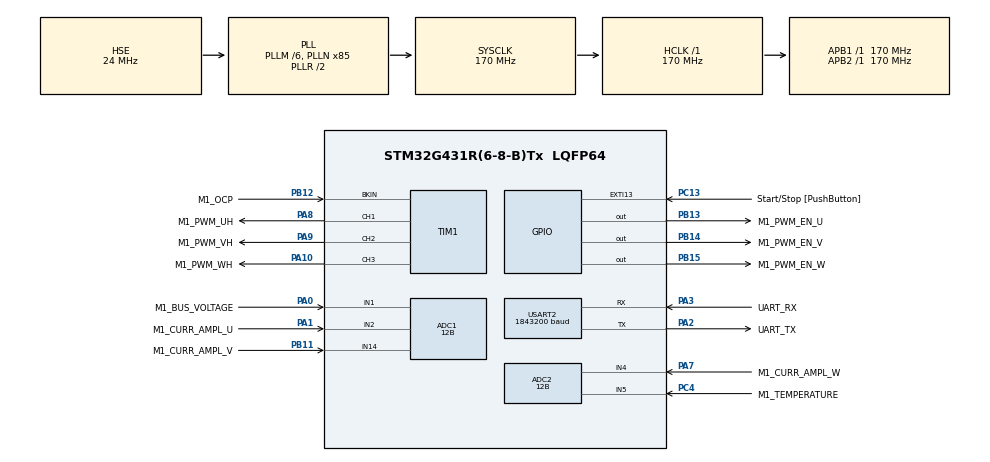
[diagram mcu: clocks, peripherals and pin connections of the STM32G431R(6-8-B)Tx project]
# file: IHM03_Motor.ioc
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ADC1.Channel-1\#ChannelRegularConversion=ADC_CHANNEL_1
ADC1.ClockPrescaler=ADC_CLOCK_ASYNC_DIV1
ADC1.ContinuousConvMode=DISABLE
ADC1.DMAContinuousRequests=DISABLE
ADC1.DataAlign=ADC_DATAALIGN_LEFT
ADC1.DiscontinuousConvMode=DISABLE
ADC1.EOCSelection=ADC_EOC_SINGLE_CONV
ADC1.EnableAnalogWatchDog1=false
ADC1.EnableAnalogWatchDog2=false
ADC1.EnableAnalogWatchDog3=false
ADC1.EnableInjectedConversion=ENABLE
ADC1.EnableRegularConversion=ENABLE
ADC1.ExternalTrigConv=ADC_SOFTWARE_START
ADC1.ExternalTrigConvEdge=ADC_EXTERNALTRIGCONVEDGE_NONE
ADC1.ExternalTrigInjecConv=ADC_EXTERNALTRIGINJEC_T1_TRGO
ADC1.ExternalTrigInjecConvEdge=ADC_EXTERNALTRIGINJECCONV_EDGE_RISING
ADC1.InjNumberOfConversion=2
ADC1.InjectedChannel-1\#ChannelInjectedConversion=ADC_CHANNEL_2
ADC1.InjectedChannel-2\#ChannelInjectedConversion=ADC_CHANNEL_14
ADC1.InjectedConvMode=None
ADC1.InjectedOffset-1\#ChannelInjectedConversion=0
ADC1.InjectedOffset-2\#ChannelInjectedConversion=0
ADC1.InjectedOffsetNumber-1\#ChannelInjectedConversion=ADC_OFFSET_NONE
ADC1.InjectedOffsetNumber-2\#ChannelInjectedConversion=ADC_OFFSET_NONE
ADC1.InjectedRank-1\#ChannelInjectedConversion=1
ADC1.InjectedRank-2\#ChannelInjectedConversion=2
ADC1.InjectedSamplingTime-1\#ChannelInjectedConversion=ADC_SAMPLETIME_6CYCLES_5
ADC1.InjectedSamplingTime-2\#ChannelInjectedConversion=ADC_SAMPLETIME_6CYCLES_5
ADC1.LowPowerAutoWait=DISABLE
ADC1.NbrOfConversion=1
ADC1.NbrOfConversionFlag=1
ADC1.Offset-1\#ChannelRegularConversion=0
ADC1.OffsetNumber-1\#ChannelRegularConversion=ADC_OFFSET_NONE
ADC1.Overrun=ADC_OVR_DATA_PRESERVED
ADC1.Rank-1\#ChannelRegularConversion=1
ADC1.Resolution=ADC_RESOLUTION_12B
ADC1.SamplingTime-1\#ChannelRegularConversion=ADC_SAMPLETIME_47CYCLES_5
ADC1.ScanConvMode=ADC_SCAN_ENABLE
ADC1.master=1
ADC2.Channel-1\#ChannelRegularConversion=ADC_CHANNEL_5
ADC2.ClockPrescaler=ADC_CLOCK_ASYNC_DIV1
ADC2.ContinuousConvMode=DISABLE
ADC2.DMAContinuousRequests=DISABLE
ADC2.DataAlign=ADC_DATAALIGN_LEFT
ADC2.DiscontinuousConvMode=DISABLE
ADC2.EOCSelection=ADC_EOC_SINGLE_CONV
ADC2.EnableAnalogWatchDog1=false
ADC2.EnableAnalogWatchDog2=false
ADC2.EnableAnalogWatchDog3=false
ADC2.EnableInjectedConversion=ENABLE
ADC2.EnableRegularConversion=ENABLE
ADC2.ExternalTrigConv=ADC_SOFTWARE_START
ADC2.ExternalTrigConvEdge=ADC_EXTERNALTRIGCONVEDGE_NONE
ADC2.ExternalTrigInjecConv=ADC_EXTERNALTRIGINJEC_T1_TRGO
ADC2.ExternalTrigInjecConvEdge=ADC_EXTERNALTRIGINJECCONV_EDGE_RISING
ADC2.InjNumberOfConversion=2
ADC2.InjectedChannel-1\#ChannelInjectedConversion=ADC_CHANNEL_14
ADC2.InjectedChannel-2\#ChannelInjectedConversion=ADC_CHANNEL_4
ADC2.InjectedConvMode=None
ADC2.InjectedOffset-1\#ChannelInjectedConversion=0
ADC2.InjectedOffset-2\#ChannelInjectedConversion=0
ADC2.InjectedOffsetNumber-1\#ChannelInjectedConversion=ADC_OFFSET_NONE
ADC2.InjectedOffsetNumber-2\#ChannelInjectedConversion=ADC_OFFSET_NONE
ADC2.InjectedRank-1\#ChannelInjectedConversion=1
ADC2.InjectedRank-2\#ChannelInjectedConversion=2
ADC2.InjectedSamplingTime-1\#ChannelInjectedConversion=ADC_SAMPLETIME_6CYCLES_5
ADC2.InjectedSamplingTime-2\#ChannelInjectedConversion=ADC_SAMPLETIME_6CYCLES_5
ADC2.LowPowerAutoWait=DISABLE
ADC2.NbrOfConversion=1
ADC2.NbrOfConversionFlag=1
ADC2.Offset-1\#ChannelRegularConversion=0
ADC2.OffsetNumber-1\#ChannelRegularConversion=ADC_OFFSET_NONE
ADC2.Overrun=ADC_OVR_DATA_PRESERVED
ADC2.Rank-1\#ChannelRegularConversion=1
ADC2.Resolution=ADC_RESOLUTION_12B
ADC2.SamplingTime-1\#ChannelRegularConversion=ADC_SAMPLETIME_47CYCLES_5
ADC2.ScanConvMode=ADC_SCAN_ENABLE
ADC2.master=1
Dma.Request0=USART2_RX
Dma.Request1=USART2_TX
Dma.USART2_RX.0.Direction=DMA_PERIPH_TO_MEMORY
Dma.USART2_RX.0.EventEnable=DISABLE
Dma.USART2_RX.0.Instance=DMA1_Channel1
Dma.USART2_RX.0.MemDataAlignment=DMA_MDATAALIGN_BYTE
Dma.USART2_RX.0.MemInc=DMA_MINC_ENABLE
Dma.USART2_RX.0.Mode=DMA_NORMAL
Dma.USART2_RX.0.PeriphDataAlignment=DMA_PDATAALIGN_BYTE
Dma.USART2_RX.0.PeriphInc=DMA_PINC_DISABLE
Dma.USART2_RX.0.Polarity=HAL_DMAMUX_REQ_GEN_RISING
Dma.USART2_RX.0.Priority=DMA_PRIORITY_LOW
Dma.USART2_RX.0.RequestNumber=1
Dma.USART2_RX.0.SignalID=NONE
Dma.USART2_RX.0.SyncEnable=DISABLE
Dma.USART2_RX.0.SyncPolarity=HAL_DMAMUX_SYNC_NO_EVENT
Dma.USART2_RX.0.SyncRequestNumber=1
Dma.USART2_RX.0.SyncSignalID=NONE
Dma.USART2_TX.1.Direction=DMA_MEMORY_TO_PERIPH
Dma.USART2_TX.1.EventEnable=DISABLE
Dma.USART2_TX.1.Instance=DMA1_Channel2
Dma.USART2_TX.1.MemDataAlignment=DMA_MDATAALIGN_BYTE
Dma.USART2_TX.1.MemInc=DMA_MINC_ENABLE
Dma.USART2_TX.1.Mode=DMA_NORMAL
Dma.USART2_TX.1.PeriphDataAlignment=DMA_PDATAALIGN_BYTE
Dma.USART2_TX.1.PeriphInc=DMA_PINC_DISABLE
Dma.USART2_TX.1.Polarity=HAL_DMAMUX_REQ_GEN_RISING
Dma.USART2_TX.1.Priority=DMA_PRIORITY_LOW
Dma.USART2_TX.1.RequestNumber=1
Dma.USART2_TX.1.SignalID=NONE
Dma.USART2_TX.1.SyncEnable=DISABLE
Dma.USART2_TX.1.SyncPolarity=HAL_DMAMUX_SYNC_NO_EVENT
Dma.USART2_TX.1.SyncRequestNumber=1
Dma.USART2_TX.1.SyncSignalID=NONE
ExtraMW=MotorControl
ExtraMW.MotorControl.Config=MotorControl
ExtraMW.MotorControl.Mode=MotorControl
ExtraMW.MotorControl.Root=MCSDK_v6.1.2-Full/MotorControl
ExtraMW.MotorControl.Template=templates
Mcu.Family=STM32G4
Mcu.Name=STM32G431R(6-8-B)Tx
Mcu.Package=LQFP64
MotorControl.ADC_1_PERIPH=ADC1
MotorControl.ADC_2_PERIPH=ADC2
MotorControl.ADC_AHBPERIPH=RCC_AHBPeriph_ADC12
MotorControl.ADC_CLOCK_WB_DIV=1
MotorControl.ADC_PERIPH=ADC1
MotorControl.ADC_REFERENCE_VOLTAGE=3.3
MotorControl.AMPLIFICATION_GAIN=1.53
MotorControl.ANGC={0,0,0,0,0,0,0,0}
MotorControl.BEMF_CONSISTENCY_GAIN=64
MotorControl.BEMF_CONSISTENCY_TOL=64
MotorControl.BKIN1_FILTER=3
MotorControl.BKIN2_FILTER=0
MotorControl.BKIN2_MODE=NONE
MotorControl.BKIN_MODE=EXT_MODE
MotorControl.BOARD=NUCLEO-G431RB
MotorControl.BUS_VOLTAGE_READING=true
MotorControl.CCMRAM_ENABLED=false
MotorControl.CLOCK_FREQUENCY=CPU_CLK_170_MHZ
MotorControl.CLOCK_SOURCE=EXTERNAL
MotorControl.CONSTANT1_D=225084
MotorControl.CONSTANT1_Q=225084
MotorControl.CONSTANT2_QD=44916
MotorControl.CPU_CLK_170_MHZ=true
MotorControl.CTLBOARD_NAME=NUCLEO-G431RB
MotorControl.CUBE_MX_VER=6.6.0
MotorControl.CURRENT_READING_TOPOLOGY=THREE_SHUNT_INDEPENDENT_RESOURCES
MotorControl.CURR_SAMPLING_TIME=6
MotorControl.DAC_FUNCTIONALITY=false
MotorControl.DC_CURRENT_RS_MEAS=2.1
MotorControl.DEFAULT_CONTROL_MODE=STC_SPEED_MODE
MotorControl.DEFAULT_FLUX_COMPONENT=0
MotorControl.DEFAULT_TARGET_SPEED_RPM=524
MotorControl.DEFAULT_TORQUE_COMPONENT=0
MotorControl.DISCONTINUOUS_PWM=false
MotorControl.DRIVES_NUMBER_SELECTION=SINGLEDRIVE
MotorControl.DRIVE_TYPE=FOC
MotorControl.EMERGENCY2_STOP_GPIO_PIN=LL_GPIO_PIN_12
MotorControl.EMERGENCY2_STOP_GPIO_PORT=GPIOB
MotorControl.EMERGENCY_STOP_GPIO_PIN=LL_GPIO_PIN_12
MotorControl.EMERGENCY_STOP_GPIO_PORT=GPIOB
MotorControl.ENABLE_SL_ALGO_FROM_PHASE=2
MotorControl.ENCODER_AVAILABLE=false
MotorControl.ENCODER_PPR=400
MotorControl.EXT_CLK_24_MHZ=true
MotorControl.EXT_CLOCK_FREQUENCY=EXT_CLK_24_MHZ
MotorControl.F1=16384
MotorControl.F2=2048
MotorControl.FEEDBACK_NET_FILTERING=false
MotorControl.FEED_FORWARD_CURRENT_REG_ENABLING=false
MotorControl.FLUX_WEAKENING_ENABLING=false
MotorControl.FW_KIDIV=32768
MotorControl.FW_KI_GAIN=5000
MotorControl.FW_KPDIV=32768
MotorControl.FW_KP_GAIN=3000
MotorControl.FW_VOLTAGE_REF=985
MotorControl.GAIN1=-22733
MotorControl.GAIN2=17455
MotorControl.HALL_PHASE_SHIFT=300
MotorControl.HALL_SENSORS_AVAILABLE=false
MotorControl.HALL_SENSORS_PLACEMENT=DEGREES_120
MotorControl.HIGH_SIDE_IDLE_STATE=false
MotorControl.HWV_CS=ThreeShunt_AmplifiedCurrents
MotorControl.HWV_OCP=OnPowerStageOCP
MotorControl.HWV_PWM=DrivingHighSidesAndThreeEnables
MotorControl.HW_COMPLEMENTED_LOW_SIDE=true
MotorControl.HW_DEAD_TIME_NS=550
MotorControl.ID_DEMAG=-21028
MotorControl.IPs=CORDIC,NVIC,RCC,SYS,MotorControl,TIM1,ADC1,ADC2,USART2,DMA
MotorControl.IQMAX=21028
MotorControl.LDLQ_RATIO=1.000
MotorControl.LOW_SIDE_IDLE_STATE=false
MotorControl.LOW_SIDE_SIGNALS_ENABLING=ES_GPIO
MotorControl.LS=0.001058
MotorControl.M1_CS_ADC_NUM=2
MotorControl.M1_CS_ADC_PHASE_SHARED=V
MotorControl.M1_CS_ADC_U=ADC1
MotorControl.M1_CS_ADC_W=ADC2
MotorControl.M1_CS_CHANNEL_SHARED=14
MotorControl.M1_CS_CHANNEL_U=2
MotorControl.M1_CS_CHANNEL_V=14
MotorControl.M1_CS_CHANNEL_W=4
MotorControl.M1_CURRENT_AMPLIFICATION_TOPO=EXTERNAL
MotorControl.M1_CURRENT_PROTECTION_DESTINATION=TIM_BKIN
MotorControl.M1_CURRENT_PROTECTION_TOPOLOGY=EXTERNAL
MotorControl.M1_CURRENT_SENSING_TOPO=THREE_SHUNT
MotorControl.M1_DBG_OPEN_LOOP_ENABLE=false
MotorControl.M1_ICL_ENABLED=false
MotorControl.M1_OVP_THRESHOLD_HIGH=14
MotorControl.M1_POTENTIOMETER_ENABLE=false
MotorControl.M1_PWM_CHARGE_BOOT_CAP_DUTY_CYCLES=0.000
MotorControl.M1_PWM_CHARGE_BOOT_CAP_MS=10
MotorControl.M1_PWM_DRIVER_PN=Driver or IGBT or MOSFET Part Number
MotorControl.M1_SS_MEAS_ERRORS_BEFORE_FAULTS=3
MotorControl.MAX_APPLICATION_SPEED=1572
MotorControl.MAX_MODULATION_81_PER_CENT=true
MotorControl.MAX_MODULATION_INDEX=MAX_MODULATION_81_PER_CENT
MotorControl.MAX_READABLE_CURRENT=3.272
MotorControl.MCP_ASPEP_OVER_UART=true
MotorControl.MCP_DATALOG_OVER_ASPEP=true
MotorControl.MCP_DATALOG_OVER_UART_A=true
MotorControl.MCP_DATALOG_OVER_UART_A_SIGNALS=10
MotorControl.MCP_DATALOG_PAYLOAD_MAX_UART_A=2048
MotorControl.MCP_DATALOG_USED=true
MotorControl.MCP_DMACH_RX_UART_A=1
MotorControl.MCP_DMACH_TX_UART_A=2
MotorControl.MCP_DMA_RX_UART_A=DMA1
MotorControl.MCP_DMA_TX_UART_A=DMA1
MotorControl.MCP_IRQ_HANDLER_DMA_RX_UART_A=DMA1_Channel1_IRQHandler
MotorControl.MCP_IRQ_HANDLER_UART_A=USART2_IRQHandler
MotorControl.MCP_OVER_ASPEP=true
MotorControl.MCP_OVER_STLNK=false
MotorControl.MCP_OVER_UART_A=true
MotorControl.MCP_OVER_UART_B=false
MotorControl.MCP_RX_SYNC_PAYLOAD_MAX=128
MotorControl.MCP_TX_SYNC_PAYLOAD_MAX=128
MotorControl.MCP_UART_SELECTION_A=USART2
MotorControl.MCP_USED=true
MotorControl.MCU=STM32G431RB
MotorControl.MCU_FAMILY=STM32G4
MotorControl.MCU_LINE=STM32G4x1
MotorControl.MCU_NAME=STM32G431R(6-8-B)Tx
MotorControl.MCU_PACKAGE=LQFP64
MotorControl.MCU_TYPE=STM32G431RB
MotorControl.MCU_USERNAME=STM32G431RBTx
MotorControl.MC_WORKBENCH_VERSION=6.1.2
MotorControl.MIN_APPLICATION_SPEED=0
MotorControl.MOTOR_MAX_SPEED_RPM=1572
MotorControl.MOTOR_NAME=GimBal GBM2804H-100T
MotorControl.MOTOR_TYPE=PMSM
MotorControl.MOTOR_VOLTAGE_CONSTANT=5.0
MotorControl.MTPA_ENABLING=false
MotorControl.NB_CONSECUTIVE_TESTS=2
MotorControl.NOMINAL_BUS_VOLTAGE_V=12
MotorControl.NOMINAL_CURRENT=21028
MotorControl.OBS_MINIMUM_SPEED_RPM=524
MotorControl.OFST={0,0,0,0,0,0,0,0}
MotorControl.ON_OVER_VOLTAGE=TURN_OFF_PWM
MotorControl.OVERCURR_FEEDBACK_POLARITY=EMSTOP_ACTIVE_LOW
MotorControl.OVERMODULATION=false
MotorControl.OV_TEMPERATURE_HYSTERESIS_C=10
MotorControl.OV_TEMPERATURE_PROT_ENABLING=true
MotorControl.OV_TEMPERATURE_THRESHOLD_C=110
MotorControl.OV_VOLTAGE_PROT_ENABLING=true
MotorControl.OV_VOLTAGE_THRESHOLD_V=14
MotorControl.PHASE1_DURATION=1000
MotorControl.PHASE1_FINAL_CURRENT=21028
MotorControl.PHASE1_FINAL_SPEED_RPM=0
MotorControl.PHASE2_DURATION=1164
MotorControl.PHASE2_FINAL_CURRENT=21028
MotorControl.PHASE2_FINAL_SPEED_RPM=582
MotorControl.PHASE3_DURATION=0
MotorControl.PHASE3_FINAL_CURRENT=21028
MotorControl.PHASE3_FINAL_SPEED_RPM=582
MotorControl.PHASE4_DURATION=0
MotorControl.PHASE4_FINAL_CURRENT=21028
MotorControl.PHASE4_FINAL_SPEED_RPM=582
MotorControl.PHASE5_DURATION=0
MotorControl.PHASE5_FINAL_CURRENT=21028
MotorControl.PHASE5_FINAL_SPEED_RPM=582
MotorControl.PHASE_UH_GPIO_PIN=LL_GPIO_PIN_8
MotorControl.PHASE_UH_GPIO_PORT=GPIOA
MotorControl.PHASE_UH_POLARITY=H_ACTIVE_HIGH
MotorControl.PHASE_UL_GPIO_PIN=LL_GPIO_PIN_13
MotorControl.PHASE_UL_GPIO_PORT=GPIOB
MotorControl.PHASE_UL_POLARITY=L_ACTIVE_HIGH
MotorControl.PHASE_U_CURR_ADC=ADC1
MotorControl.PHASE_U_CURR_CHANNEL=ADC_CHANNEL_2
MotorControl.PHASE_U_GPIO_PIN=LL_GPIO_PIN_1
MotorControl.PHASE_U_GPIO_PORT=GPIOA
MotorControl.PHASE_VH_GPIO_PIN=LL_GPIO_PIN_9
MotorControl.PHASE_VH_GPIO_PORT=GPIOA
MotorControl.PHASE_VH_POLARITY=H_ACTIVE_HIGH
MotorControl.PHASE_VL_GPIO_PIN=LL_GPIO_PIN_14
MotorControl.PHASE_VL_GPIO_PORT=GPIOB
MotorControl.PHASE_VL_POLARITY=L_ACTIVE_HIGH
MotorControl.PHASE_V_CURR_ADC=ADC1
MotorControl.PHASE_V_CURR_CHANNEL=ADC_CHANNEL_14
MotorControl.PHASE_V_GPIO_PIN=LL_GPIO_PIN_11
MotorControl.PHASE_V_GPIO_PORT=GPIOB
MotorControl.PHASE_V_S_CURR_ADC=ADC2
MotorControl.PHASE_V_S_CURR_CHANNEL=ADC_CHANNEL_14
MotorControl.PHASE_V_S_GPIO_PIN=LL_GPIO_PIN_11
MotorControl.PHASE_V_S_GPIO_PORT=GPIOB
MotorControl.PHASE_WH_GPIO_PIN=LL_GPIO_PIN_10
MotorControl.PHASE_WH_GPIO_PORT=GPIOA
MotorControl.PHASE_WH_POLARITY=H_ACTIVE_HIGH
MotorControl.PHASE_WL_GPIO_PIN=LL_GPIO_PIN_15
MotorControl.PHASE_WL_GPIO_PORT=GPIOB
MotorControl.PHASE_WL_POLARITY=L_ACTIVE_HIGH
MotorControl.PHASE_W_CURR_ADC=ADC2
MotorControl.PHASE_W_CURR_CHANNEL=ADC_CHANNEL_4
MotorControl.PHASE_W_GPIO_PIN=LL_GPIO_PIN_7
MotorControl.PHASE_W_GPIO_PORT=GPIOA
MotorControl.PID_FLUX_KD_DEFAULT=100
MotorControl.PID_FLUX_KI_DEFAULT=2128
MotorControl.PID_FLUX_KP_DEFAULT=3547
MotorControl.PID_SPEED_KD_DEFAULT=0
MotorControl.PID_SPEED_KI_DEFAULT=562
MotorControl.PID_SPEED_KP_DEFAULT=2730
MotorControl.PID_TORQUE_KD_DEFAULT=100
MotorControl.PID_TORQUE_KI_DEFAULT=2128
MotorControl.PID_TORQUE_KP_DEFAULT=3547
MotorControl.PLL_KI_GAIN=4
MotorControl.PLL_KP_GAIN=176
MotorControl.POLE_PAIR_NUM=7
MotorControl.POSITION_CTRL_ENABLING=false
MotorControl.POTENTIOMETER_READING=false
MotorControl.POWERBOARD_NAME=X-NUCLEO-IHM16M1
MotorControl.PWM_FREQUENCY=100000
MotorControl.PWM_TIMER_SELECTION=PWM_TIM1
MotorControl.REGULATION_EXECUTION_RATE=3
MotorControl.RS=5.29
MotorControl.RSHUNT=0.33
MotorControl.RTOS=NONE
MotorControl.R_BRAKE_SWITCH_OFF_THRES_V=12
MotorControl.SEGDIV=0
MotorControl.SHARED_SIGNAL_ENABLE=false
MotorControl.SINGLEDRIVE=true
MotorControl.SPD_DIFFERENTIAL_TERM_ENABLING=false
MotorControl.SPEED_BAND_LOWER_LIMIT=15
MotorControl.SPEED_BAND_UPPER_LIMIT=17
MotorControl.SPEED_FEEDBACK_CHECK=true
MotorControl.SPEED_LOOP_FREQUENCY_HZ=1000
MotorControl.SPEED_SENSOR_SELECTION=STATE_OBSERVER_PLL
MotorControl.SP_KDDIV=16
MotorControl.SP_KIDIV=16384
MotorControl.SP_KPDIV=256
MotorControl.STARTING_ANGLE_DEG=0
MotorControl.START_STOP_BTN=true
MotorControl.START_STOP_GPIO_PIN=LL_GPIO_PIN_13
MotorControl.START_STOP_GPIO_PORT=GPIOC
MotorControl.START_STOP_POLARITY=DIN_ACTIVE_LOW
MotorControl.START_STOP_POLARITY_EDGE=GPIO_NOPULL
MotorControl.STATE_OBSERVER_PLL=true
MotorControl.STM32G431RB=true
MotorControl.STO_FIFO_DEPTH_01HZ=64
MotorControl.STO_FIFO_DEPTH_DPP=64
MotorControl.SW_DEADTIME_NS=525
MotorControl.SW_OV_CURRENT_PROT_ENABLING=true
MotorControl.T0_C=25
MotorControl.TEMPERATURE_READING=true
MotorControl.TEMP_ADC_SAMPLING_TIME=47
MotorControl.TEMP_FDBK_ADC=ADC2
MotorControl.TEMP_FDBK_CHANNEL=ADC_CHANNEL_5
MotorControl.TEMP_FDBK_GPIO_PIN=LL_GPIO_PIN_4
MotorControl.TEMP_FDBK_GPIO_PORT=GPIOC
MotorControl.TFDIFFERENTIAL_TERM_ENABLING=false
MotorControl.TF_KDDIV=8192
MotorControl.TF_KIDIV=4096
MotorControl.TF_KPDIV=1024
MotorControl.THREE_SHUNT_INDEPENDENT_RESOURCES=true
MotorControl.TNOISE_NS=500
MotorControl.TRANSITION_DURATION=25
MotorControl.TRISE_NS=500
MotorControl.T_MAX=110
MotorControl.UD_VOLTAGE_THRESHOLD_V=7
MotorControl.USART_RX_GPIO_PIN=LL_GPIO_PIN_3
MotorControl.USART_RX_GPIO_PORT=GPIOA
MotorControl.USART_SELECTION=USE_USART2
MotorControl.USART_SPEED=1843200
MotorControl.USART_TX_GPIO_PIN=LL_GPIO_PIN_2
MotorControl.USART_TX_GPIO_PORT=GPIOA
MotorControl.USE_3OPAMPS=false
MotorControl.USE_INTERNAL_OPAMP=false
MotorControl.UV_VOLTAGE_PROT_ENABLING=true
MotorControl.V0_V=0.579
MotorControl.VARIANCE_THRESHOLD=0.25
MotorControl.VBUS_ADC=ADC1
MotorControl.VBUS_ADC_SAMPLING_TIME=47
MotorControl.VBUS_CHANNEL=ADC_CHANNEL_1
MotorControl.VBUS_GPIO_PIN=LL_GPIO_PIN_0
MotorControl.VBUS_GPIO_PORT=GPIOA
MotorControl.VBUS_PARTITIONING_FACTOR=0.0625
MotorControl.WB_UI_ENCODER_HAS_INDEX_PIN=false
MotorControl.WB_UI_FRICTION=0.937
MotorControl.WB_UI_INERTIA=0.291
MotorControl.WB_UI_MAGNETIC_STRUCTURE=SM-PMSM
MotorControl.WB_UI_MAX_CURRENT=2.1
MotorControl.WB_UI_MAX_NOMINAL_DC_VOLTAGE=14.8
MotorControl.WB_to_Mx_template_version=22-12-05
MotorControl.WB_to_Mx_version=6.1.0
MotorControl.dV_dT=0.027
NVIC.ADC1_2_IRQn=true\:2\:0\:true\:true\:false\:5\:true\:true\:true
NVIC.DMA1_Channel1_IRQn=true\:3\:0\:true\:true\:false\:2\:true\:true\:true
NVIC.EXTI15_10_IRQn=true\:3\:0\:false\:true\:false\:6\:true\:true\:true
NVIC.PriorityGroup=NVIC_PRIORITYGROUP_3
NVIC.TIM1_BRK_TIM15_IRQn=true\:4\:1\:true\:true\:false\:3\:true\:true\:true
NVIC.TIM1_UP_TIM16_IRQn=true\:0\:0\:false\:true\:false\:4\:true\:true\:true
NVIC.TIM2_IRQn=true\:0\:0\:false\:true\:true\:7\:true\:true\:true
NVIC.USART2_IRQn=true\:3\:1\:true\:true\:false\:1\:true\:true\:true
PA0.GPIO_Label=M1_BUS_VOLTAGE
PA0.Mode=IN1-Single-Ended
PA0.Signal=ADC1_IN1
PA1.GPIO_Label=M1_CURR_AMPL_U
PA1.Mode=IN2-Single-Ended
PA1.Signal=ADC1_IN2
PA10.GPIO_Label=M1_PWM_WH
PA10.GPIO_PuPd=GPIO_PULLDOWN
PA10.GPIO_Speed=GPIO_SPEED_FREQ_HIGH
PA10.Signal=S_TIM1_CH3
PA13.GPIO_Label=TMS
PA13.Mode=Serial_Wire
PA13.Signal=SYS_JTMS-SWDIO
PA14.GPIO_Label=TCK
PA14.Mode=Serial_Wire
PA14.Signal=SYS_JTCK-SWCLK
PA2.GPIO_Label=UART_TX
PA2.GPIO_Mode=GPIO_MODE_AF_PP
PA2.GPIO_PuPd=GPIO_NOPULL
PA2.GPIO_Speed=GPIO_SPEED_FREQ_LOW
PA2.Mode=Asynchronous
PA2.Signal=USART2_TX
PA3.GPIO_Label=UART_RX
PA3.GPIO_Mode=GPIO_MODE_AF_PP
PA3.GPIO_PuPd=GPIO_NOPULL
PA3.GPIO_Speed=GPIO_SPEED_FREQ_LOW
PA3.Mode=Asynchronous
PA3.Signal=USART2_RX
PA7.GPIO_Label=M1_CURR_AMPL_W
PA7.Mode=IN4-Single-Ended
PA7.Signal=ADC2_IN4
PA8.GPIO_Label=M1_PWM_UH
PA8.GPIO_PuPd=GPIO_PULLDOWN
PA8.GPIO_Speed=GPIO_SPEED_FREQ_HIGH
PA8.Signal=S_TIM1_CH1
PA9.GPIO_Label=M1_PWM_VH
PA9.GPIO_PuPd=GPIO_PULLDOWN
PA9.GPIO_Speed=GPIO_SPEED_FREQ_HIGH
PA9.Signal=S_TIM1_CH2
PB11.GPIO_Label=M1_CURR_AMPL_V
PB11.Signal=SharedAnalog_PB11
PB12.GPIO_Label=M1_OCP
PB12.GPIO_PuPd=GPIO_PULLUP
PB12.Mode=Activate-Break-Input
PB12.Signal=TIM1_BKIN
PB13.GPIO_Label=M1_PWM_EN_U
PB13.GPIO_PuPd=GPIO_PULLDOWN
PB13.GPIO_Speed=GPIO_SPEED_FREQ_HIGH
PB13.Signal=GPIO_Output
PB14.GPIO_Label=M1_PWM_EN_V
PB14.GPIO_PuPd=GPIO_PULLDOWN
PB14.GPIO_Speed=GPIO_SPEED_FREQ_HIGH
PB14.Signal=GPIO_Output
PB15.GPIO_Label=M1_PWM_EN_W
PB15.GPIO_PuPd=GPIO_PULLDOWN
PB15.GPIO_Speed=GPIO_SPEED_FREQ_HIGH
PB15.Signal=GPIO_Output
PC13.GPIO_Label=Start/Stop [PushButton]
PC13.GPIO_ModeDefaultEXTI=GPIO_MODE_IT_FALLING
PC13.GPIO_PuPd=GPIO_NOPULL
PC13.Signal=GPXTI13
PC4.GPIO_Label=M1_TEMPERATURE
PC4.Mode=IN5-Single-Ended
PC4.Signal=ADC2_IN5
PF0-OSC_IN.Mode=HSE-External-Oscillator
PF0-OSC_IN.Signal=RCC_OSC_IN
PF1-OSC_OUT.Mode=HSE-External-Oscillator
PF1-OSC_OUT.Signal=RCC_OSC_OUT
ProjectManager.HeapSize=0x200
ProjectManager.StackSize=0x400
ProjectManager.TargetToolchain=STM32CubeIDE
RCC.ADC12CLockSelection=RCC_ADC12CLKSOURCE_PLL
RCC.ADC12Freq_Value=42500000
RCC.ADC345Freq_Value=170000000
RCC.AHBFreq_Value=170000000
RCC.APB1Freq_Value=170000000
RCC.APB1TimFreq_Value=170000000
RCC.APB2Freq_Value=170000000
RCC.APB2TimFreq_Value=170000000
RCC.CortexFreq_Value=170000000
RCC.EXTERNAL_CLOCK_VALUE=12288000
RCC.EnbaleCSS=true
RCC.HCLKFreq_Value=170000000
RCC.HSE_VALUE=24000000
RCC.HSI48_VALUE=48000000
RCC.HSI_VALUE=16000000
RCC.LSE_VALUE=32768
RCC.PLLM=RCC_PLLM_DIV6
RCC.PLLN=85
RCC.PLLP=RCC_PLLP_DIV8
RCC.PLLSourceVirtual=RCC_PLLSOURCE_HSE
RCC.SYSCLKFreq_VALUE=170000000
RCC.SYSCLKSource=RCC_SYSCLKSOURCE_PLLCLK
RCC.USBFreq_Value=170000000
RCC.VCOOutputFreq_Value=340000000
SH.S_TIM1_CH1.0=TIM1_CH1,PWM Generation1 CH1
SH.S_TIM1_CH2.0=TIM1_CH2,PWM Generation2 CH2
SH.S_TIM1_CH3.0=TIM1_CH3,PWM Generation3 CH3
SH.SharedAnalog_PB11.0=ADC1_IN14,IN14-Single-Ended
SH.SharedAnalog_PB11.1=ADC2_IN14,IN14-Single-Ended
TIM1.AutoReloadPreload=TIM_AUTORELOAD_PRELOAD_DISABLE
TIM1.AutomaticOutput=TIM_AUTOMATICOUTPUT_DISABLE
TIM1.Break2Filter=0
TIM1.Break2Polarity=TIM_BREAK2POLARITY_HIGH
TIM1.Break2State=TIM_BREAK2_DISABLE
TIM1.BreakFilter=3
TIM1.BreakPolarity=TIM_BREAKPOLARITY_HIGH
TIM1.BreakState=TIM_BREAK_ENABLE
TIM1.Channel=TIM_CHANNEL_4
TIM1.Channel-PWM\ Generation1\ CH1=TIM_CHANNEL_1
TIM1.Channel-PWM\ Generation2\ CH2=TIM_CHANNEL_2
TIM1.Channel-PWM\ Generation3\ CH3=TIM_CHANNEL_3
TIM1.Channel-PWM\ Generation4\ No\ Output=TIM_CHANNEL_4
TIM1.ClearInputSource=TIM_CLEARINPUTSOURCE_NONE
TIM1.ClockDivision=TIM_CLOCKDIVISION_DIV2
TIM1.CounterMode=TIM_COUNTERMODE_CENTERALIGNED1
TIM1.LockLevel=TIM_LOCKLEVEL_1
TIM1.OC1Preload_PWM=ENABLE
TIM1.OC2Preload_PWM=ENABLE
TIM1.OC3Preload_PWM=ENABLE
TIM1.OC4Preload_PWM=ENABLE
TIM1.OCFastMode_PWM=TIM_OCFAST_DISABLE
TIM1.OCIdleState_1=TIM_OCIDLESTATE_RESET
TIM1.OCIdleState_2=TIM_OCIDLESTATE_RESET
TIM1.OCIdleState_3=TIM_OCIDLESTATE_RESET
TIM1.OCIdleState_4=TIM_OCIDLESTATE_RESET
TIM1.OCMode_PWM-PWM\ Generation1\ CH1=TIM_OCMODE_PWM1
TIM1.OCMode_PWM-PWM\ Generation2\ CH2=TIM_OCMODE_PWM1
TIM1.OCMode_PWM-PWM\ Generation3\ CH3=TIM_OCMODE_PWM1
TIM1.OCMode_PWM-PWM\ Generation4\ No\ Output=TIM_OCMODE_PWM2
TIM1.OCPolarity_1=TIM_OCPOLARITY_HIGH
TIM1.OCPolarity_2=TIM_OCPOLARITY_HIGH
TIM1.OCPolarity_3=TIM_OCPOLARITY_HIGH
TIM1.OCPolarity_4=TIM_OCPOLARITY_HIGH
TIM1.OffStateIDLEMode=TIM_OSSI_ENABLE
TIM1.OffStateRunMode=TIM_OSSR_ENABLE
TIM1.PeriodNoDither=((PWM_PERIOD_CYCLES) / 2)
TIM1.Prescaler=((TIM_CLOCK_DIVIDER) - 1)
TIM1.PulseNoDither_1=((PWM_PERIOD_CYCLES) / 4)
TIM1.PulseNoDither_2=((PWM_PERIOD_CYCLES) / 4)
TIM1.PulseNoDither_3=((PWM_PERIOD_CYCLES) / 4)
TIM1.PulseNoDither_4=(((PWM_PERIOD_CYCLES) / 2) - (HTMIN))
TIM1.RepetitionCounter=(REP_COUNTER)
TIM1.SourceBRK2DigInput=TIM_BREAKINPUTSOURCE_DISABLE
TIM1.SourceBRKDigInput=TIM_BREAKINPUTSOURCE_ENABLE
TIM1.SourceBRKDigInputPolarity=TIM_BREAKINPUTSOURCE_POLARITY_LOW
TIM1.TIM_MasterOutputTrigger=TIM_TRGO_OC4REF
TIM1.TIM_MasterOutputTrigger2=TIM_TRGO2_RESET
TIM1.TIM_MasterSlaveMode=TIM_MASTERSLAVEMODE_DISABLE
TIM1.TIM_SlaveMode=TIM_SLAVEMODE_TRIGGER
TIM2.PeriodNoDither=100000-1
TIM2.Prescaler=1700-1
USART2.BaudRate=1843200
USART2.VirtualMode-Asynchronous=VM_ASYNC
USART2.WordLength=WORDLENGTH_8B
VP_CORDIC_VS_CORDIC.Mode=CORDIC_Activate
VP_MotorControl_MC_ENABLED.Mode=Enabled
VP_SYS_VS_DBSignals.Mode=DisableDeadBatterySignals
VP_TIM1_VS_ClockSourceITR.Mode=TriggerSource_ITR1
VP_TIM1_VS_ControllerModeTrigger.Mode=Trigger Mode
VP_TIM1_VS_no_output4.Mode=PWM Generation4 No Output
VP_TIM2_VS_ClockSourceINT.Mode=Internal
board=custom

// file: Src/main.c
/* USER CODE BEGIN Header */
/**
  ******************************************************************************
  * @file           : main.c
  * @brief          : Main program body
  ******************************************************************************
  * @attention
  *
  * Copyright (c) 2024 STMicroelectronics.
  * All rights reserved.
  *
  * This software is licensed under terms that can be found in the LICENSE file
  * in the root directory of this software component.
  * If no LICENSE file comes with this software, it is provided AS-IS.
  *
  ******************************************************************************
  */
/* USER CODE END Header */
#include "main.h"

ADC_HandleTypeDef hadc1;
ADC_HandleTypeDef hadc2;

CORDIC_HandleTypeDef hcordic;

TIM_HandleTypeDef htim1;
TIM_HandleTypeDef htim2;

UART_HandleTypeDef huart2;
DMA_HandleTypeDef hdma_usart2_rx;
DMA_HandleTypeDef hdma_usart2_tx;

/* USER CODE BEGIN PV */
///* Motor Control*///
extern MCI_Handle_t* pMCI[NBR_OF_MOTORS];
uint32_t sharedCounter;
uint32_t localSharedCounter;
uint32_t local1SharedCounter;
uint32_t local2SharedCounter;
uint32_t local3SharedCounter;
uint32_t local4SharedCounter;
uint32_t local5SharedCounter;
uint32_t local6SharedCounter;
uint32_t local7SharedCounter;
uint32_t local8SharedCounter;
float DesiredSpeed;// rpm
uint16_t Durationms = 500;

/* USER CODE END PV */

void SystemClock_Config(void);
static void MX_GPIO_Init(void);
static void MX_DMA_Init(void);
static void MX_ADC1_Init(void);
static void MX_ADC2_Init(void);
static void MX_CORDIC_Init(void);
static void MX_TIM1_Init(void);
static void MX_USART2_UART_Init(void);
static void MX_TIM2_Init(void);
static void MX_NVIC_Init(void);

int main(void)
{

  /* MCU Configuration--------------------------------------------------------*/

  /* Reset of all peripherals, Initializes the Flash interface and the Systick. */
  HAL_Init();

  /* Configure the system clock */
  SystemClock_Config();

  /* Initialize all configured peripherals */
  MX_GPIO_Init();
  MX_DMA_Init();
  MX_ADC1_Init();
  MX_ADC2_Init();
  MX_CORDIC_Init();
  MX_TIM1_Init();
  MX_USART2_UART_Init();
  MX_MotorControl_Init();
  MX_TIM2_Init();

  /* Initialize interrupts */
  MX_NVIC_Init();
  /* USER CODE BEGIN 2 */
  HAL_TIM_Base_Init(&htim2);
  HAL_TIM_Base_Start_IT(&htim2);

  /* USER CODE END 2 */

  /* Infinite loop */
  while (1)
  {

  }
}

void SystemClock_Config(void)
{
  RCC_OscInitTypeDef RCC_OscInitStruct = {0};
  RCC_ClkInitTypeDef RCC_ClkInitStruct = {0};

  /** Configure the main internal regulator output voltage
  */
  HAL_PWREx_ControlVoltageScaling(PWR_REGULATOR_VOLTAGE_SCALE1_BOOST);

  /** Initializes the RCC Oscillators according to the specified parameters
  * in the RCC_OscInitTypeDef structure.
  */
  RCC_OscInitStruct.OscillatorType = RCC_OSCILLATORTYPE_HSE;
  RCC_OscInitStruct.HSEState = RCC_HSE_ON;
  RCC_OscInitStruct.PLL.PLLState = RCC_PLL_ON;
  RCC_OscInitStruct.PLL.PLLSource = RCC_PLLSOURCE_HSE;
  RCC_OscInitStruct.PLL.PLLM = RCC_PLLM_DIV6;
  RCC_OscInitStruct.PLL.PLLN = 85;
  RCC_OscInitStruct.PLL.PLLP = RCC_PLLP_DIV8;
  RCC_OscInitStruct.PLL.PLLQ = RCC_PLLQ_DIV2;
  RCC_OscInitStruct.PLL.PLLR = RCC_PLLR_DIV2;
  if (HAL_RCC_OscConfig(&RCC_OscInitStruct) != HAL_OK)
  {
    Error_Handler();
  }

  /** Initializes the CPU, AHB and APB buses clocks
  */
  RCC_ClkInitStruct.ClockType = RCC_CLOCKTYPE_HCLK|RCC_CLOCKTYPE_SYSCLK
                              |RCC_CLOCKTYPE_PCLK1|RCC_CLOCKTYPE_PCLK2;
  RCC_ClkInitStruct.SYSCLKSource = RCC_SYSCLKSOURCE_PLLCLK;
  RCC_ClkInitStruct.AHBCLKDivider = RCC_SYSCLK_DIV1;
  RCC_ClkInitStruct.APB1CLKDivider = RCC_HCLK_DIV1;
  RCC_ClkInitStruct.APB2CLKDivider = RCC_HCLK_DIV1;

  if (HAL_RCC_ClockConfig(&RCC_ClkInitStruct, FLASH_LATENCY_4) != HAL_OK)
  {
    Error_Handler();
  }

  /** Enables the Clock Security System
  */
  HAL_RCC_EnableCSS();
}

/**
  * @brief NVIC Configuration.
  * @retval None
  */
static void MX_NVIC_Init(void)
{
  /* USART2_IRQn interrupt configuration */
  HAL_NVIC_SetPriority(USART2_IRQn, 3, 1);
  HAL_NVIC_EnableIRQ(USART2_IRQn);
  /* DMA1_Channel1_IRQn interrupt configuration */
  HAL_NVIC_SetPriority(DMA1_Channel1_IRQn, 3, 0);
  HAL_NVIC_EnableIRQ(DMA1_Channel1_IRQn);
  /* TIM1_BRK_TIM15_IRQn interrupt configuration */
  HAL_NVIC_SetPriority(TIM1_BRK_TIM15_IRQn, 4, 1);
  HAL_NVIC_EnableIRQ(TIM1_BRK_TIM15_IRQn);
  /* TIM1_UP_TIM16_IRQn interrupt configuration */
  HAL_NVIC_SetPriority(TIM1_UP_TIM16_IRQn, 0, 0);
  HAL_NVIC_EnableIRQ(TIM1_UP_TIM16_IRQn);
  /* ADC1_2_IRQn interrupt configuration */
  HAL_NVIC_SetPriority(ADC1_2_IRQn, 2, 0);
  HAL_NVIC_EnableIRQ(ADC1_2_IRQn);
  /* EXTI15_10_IRQn interrupt configuration */
  HAL_NVIC_SetPriority(EXTI15_10_IRQn, 3, 0);
  HAL_NVIC_EnableIRQ(EXTI15_10_IRQn);
  /* TIM2_IRQn interrupt configuration */
  HAL_NVIC_SetPriority(TIM2_IRQn, 0, 0);
  HAL_NVIC_EnableIRQ(TIM2_IRQn);
}

static void MX_ADC1_Init(void)
{

  ADC_MultiModeTypeDef multimode = {0};
  ADC_InjectionConfTypeDef sConfigInjected = {0};
  ADC_ChannelConfTypeDef sConfig = {0};

  /** Common config
  */
  hadc1.Instance = ADC1;
  hadc1.Init.ClockPrescaler = ADC_CLOCK_ASYNC_DIV1;
  hadc1.Init.Resolution = ADC_RESOLUTION_12B;
  hadc1.Init.DataAlign = ADC_DATAALIGN_LEFT;
  hadc1.Init.GainCompensation = 0;
  hadc1.Init.ScanConvMode = ADC_SCAN_ENABLE;
  hadc1.Init.EOCSelection = ADC_EOC_SINGLE_CONV;
  hadc1.Init.LowPowerAutoWait = DISABLE;
  hadc1.Init.ContinuousConvMode = DISABLE;
  hadc1.Init.NbrOfConversion = 1;
  hadc1.Init.DiscontinuousConvMode = DISABLE;
  hadc1.Init.ExternalTrigConv = ADC_SOFTWARE_START;
  hadc1.Init.ExternalTrigConvEdge = ADC_EXTERNALTRIGCONVEDGE_NONE;
  hadc1.Init.DMAContinuousRequests = DISABLE;
  hadc1.Init.Overrun = ADC_OVR_DATA_PRESERVED;
  hadc1.Init.OversamplingMode = DISABLE;
  if (HAL_ADC_Init(&hadc1) != HAL_OK)
  {
    Error_Handler();
  }

  /** Configure the ADC multi-mode
  */
  multimode.Mode = ADC_MODE_INDEPENDENT;
  if (HAL_ADCEx_MultiModeConfigChannel(&hadc1, &multimode) != HAL_OK)
  {
    Error_Handler();
  }

  /** Configure Injected Channel
  */
  sConfigInjected.InjectedChannel = ADC_CHANNEL_2;
  sConfigInjected.InjectedRank = ADC_INJECTED_RANK_1;
  sConfigInjected.InjectedSamplingTime = ADC_SAMPLETIME_6CYCLES_5;
  sConfigInjected.InjectedSingleDiff = ADC_SINGLE_ENDED;
  sConfigInjected.InjectedOffsetNumber = ADC_OFFSET_NONE;
  sConfigInjected.InjectedOffset = 0;
  sConfigInjected.InjectedNbrOfConversion = 2;
  sConfigInjected.InjectedDiscontinuousConvMode = DISABLE;
  sConfigInjected.AutoInjectedConv = DISABLE;
  sConfigInjected.QueueInjectedContext = DISABLE;
  sConfigInjected.ExternalTrigInjecConv = ADC_EXTERNALTRIGINJEC_T1_TRGO;
  sConfigInjected.ExternalTrigInjecConvEdge = ADC_EXTERNALTRIGINJECCONV_EDGE_RISING;
  sConfigInjected.InjecOversamplingMode = DISABLE;
  if (HAL_ADCEx_InjectedConfigChannel(&hadc1, &sConfigInjected) != HAL_OK)
  {
    Error_Handler();
  }

  /** Configure Injected Channel
  */
  sConfigInjected.InjectedChannel = ADC_CHANNEL_14;
  sConfigInjected.InjectedRank = ADC_INJECTED_RANK_2;
  if (HAL_ADCEx_InjectedConfigChannel(&hadc1, &sConfigInjected) != HAL_OK)
  {
    Error_Handler();
  }

  /** Configure Regular Channel
  */
  sConfig.Channel = ADC_CHANNEL_1;
  sConfig.Rank = ADC_REGULAR_RANK_1;
  sConfig.SamplingTime = ADC_SAMPLETIME_47CYCLES_5;
  sConfig.SingleDiff = ADC_SINGLE_ENDED;
  sConfig.OffsetNumber = ADC_OFFSET_NONE;
  sConfig.Offset = 0;
  if (HAL_ADC_ConfigChannel(&hadc1, &sConfig) != HAL_OK)
  {
    Error_Handler();
  }

}

static void MX_ADC2_Init(void)
{

  ADC_InjectionConfTypeDef sConfigInjected = {0};
  ADC_ChannelConfTypeDef sConfig = {0};

  /** Common config
  */
  hadc2.Instance = ADC2;
  hadc2.Init.ClockPrescaler = ADC_CLOCK_ASYNC_DIV1;
  hadc2.Init.Resolution = ADC_RESOLUTION_12B;
  hadc2.Init.DataAlign = ADC_DATAALIGN_LEFT;
  hadc2.Init.GainCompensation = 0;
  hadc2.Init.ScanConvMode = ADC_SCAN_ENABLE;
  hadc2.Init.EOCSelection = ADC_EOC_SINGLE_CONV;
  hadc2.Init.LowPowerAutoWait = DISABLE;
  hadc2.Init.ContinuousConvMode = DISABLE;
  hadc2.Init.NbrOfConversion = 1;
  hadc2.Init.DiscontinuousConvMode = DISABLE;
  hadc2.Init.ExternalTrigConv = ADC_SOFTWARE_START;
  hadc2.Init.ExternalTrigConvEdge = ADC_EXTERNALTRIGCONVEDGE_NONE;
  hadc2.Init.DMAContinuousRequests = DISABLE;
  hadc2.Init.Overrun = ADC_OVR_DATA_PRESERVED;
  hadc2.Init.OversamplingMode = DISABLE;
  if (HAL_ADC_Init(&hadc2) != HAL_OK)
  {
    Error_Handler();
  }

  /** Configure Injected Channel
  */
  sConfigInjected.InjectedChannel = ADC_CHANNEL_14;
  sConfigInjected.InjectedRank = ADC_INJECTED_RANK_1;
  sConfigInjected.InjectedSamplingTime = ADC_SAMPLETIME_6CYCLES_5;
  sConfigInjected.InjectedSingleDiff = ADC_SINGLE_ENDED;
  sConfigInjected.InjectedOffsetNumber = ADC_OFFSET_NONE;
  sConfigInjected.InjectedOffset = 0;
  sConfigInjected.InjectedNbrOfConversion = 2;
  sConfigInjected.InjectedDiscontinuousConvMode = DISABLE;
  sConfigInjected.AutoInjectedConv = DISABLE;
  sConfigInjected.QueueInjectedContext = DISABLE;
  sConfigInjected.ExternalTrigInjecConv = ADC_EXTERNALTRIGINJEC_T1_TRGO;
  sConfigInjected.ExternalTrigInjecConvEdge = ADC_EXTERNALTRIGINJECCONV_EDGE_RISING;
  sConfigInjected.InjecOversamplingMode = DISABLE;
  if (HAL_ADCEx_InjectedConfigChannel(&hadc2, &sConfigInjected) != HAL_OK)
  {
    Error_Handler();
  }

  /** Configure Injected Channel
  */
  sConfigInjected.InjectedChannel = ADC_CHANNEL_4;
  sConfigInjected.InjectedRank = ADC_INJECTED_RANK_2;
  if (HAL_ADCEx_InjectedConfigChannel(&hadc2, &sConfigInjected) != HAL_OK)
  {
    Error_Handler();
  }

  /** Configure Regular Channel
  */
  sConfig.Channel = ADC_CHANNEL_5;
  sConfig.Rank = ADC_REGULAR_RANK_1;
  sConfig.SamplingTime = ADC_SAMPLETIME_47CYCLES_5;
  sConfig.SingleDiff = ADC_SINGLE_ENDED;
  sConfig.OffsetNumber = ADC_OFFSET_NONE;
  sConfig.Offset = 0;
  if (HAL_ADC_ConfigChannel(&hadc2, &sConfig) != HAL_OK)
  {
    Error_Handler();
  }

}

static void MX_CORDIC_Init(void)
{

  hcordic.Instance = CORDIC;
  if (HAL_CORDIC_Init(&hcordic) != HAL_OK)
  {
    Error_Handler();
  }

}

static void MX_TIM1_Init(void)
{

  TIM_SlaveConfigTypeDef sSlaveConfig = {0};
  TIM_MasterConfigTypeDef sMasterConfig = {0};
  TIMEx_BreakInputConfigTypeDef sBreakInputConfig = {0};
  TIM_OC_InitTypeDef sConfigOC = {0};
  TIM_BreakDeadTimeConfigTypeDef sBreakDeadTimeConfig = {0};

  htim1.Instance = TIM1;
  htim1.Init.Prescaler = ((TIM_CLOCK_DIVIDER) - 1);
  htim1.Init.CounterMode = TIM_COUNTERMODE_CENTERALIGNED1;
  htim1.Init.Period = ((PWM_PERIOD_CYCLES) / 2);
  htim1.Init.ClockDivision = TIM_CLOCKDIVISION_DIV2;
  htim1.Init.RepetitionCounter = (REP_COUNTER);
  htim1.Init.AutoReloadPreload = TIM_AUTORELOAD_PRELOAD_DISABLE;
  if (HAL_TIM_Base_Init(&htim1) != HAL_OK)
  {
    Error_Handler();
  }
  if (HAL_TIM_PWM_Init(&htim1) != HAL_OK)
  {
    Error_Handler();
  }
  sSlaveConfig.SlaveMode = TIM_SLAVEMODE_TRIGGER;
  sSlaveConfig.InputTrigger = TIM_TS_ITR1;
  if (HAL_TIM_SlaveConfigSynchro(&htim1, &sSlaveConfig) != HAL_OK)
  {
    Error_Handler();
  }
  sMasterConfig.MasterOutputTrigger = TIM_TRGO_OC4REF;
  sMasterConfig.MasterOutputTrigger2 = TIM_TRGO2_RESET;
  sMasterConfig.MasterSlaveMode = TIM_MASTERSLAVEMODE_DISABLE;
  if (HAL_TIMEx_MasterConfigSynchronization(&htim1, &sMasterConfig) != HAL_OK)
  {
    Error_Handler();
  }
  sBreakInputConfig.Source = TIM_BREAKINPUTSOURCE_BKIN;
  sBreakInputConfig.Enable = TIM_BREAKINPUTSOURCE_ENABLE;
  sBreakInputConfig.Polarity = TIM_BREAKINPUTSOURCE_POLARITY_LOW;
  if (HAL_TIMEx_ConfigBreakInput(&htim1, TIM_BREAKINPUT_BRK, &sBreakInputConfig) != HAL_OK)
  {
    Error_Handler();
  }
  sConfigOC.OCMode = TIM_OCMODE_PWM1;
  sConfigOC.Pulse = ((PWM_PERIOD_CYCLES) / 4);
  sConfigOC.OCPolarity = TIM_OCPOLARITY_HIGH;
  sConfigOC.OCNPolarity = TIM_OCNPOLARITY_HIGH;
  sConfigOC.OCFastMode = TIM_OCFAST_DISABLE;
  sConfigOC.OCIdleState = TIM_OCIDLESTATE_RESET;
  sConfigOC.OCNIdleState = TIM_OCNIDLESTATE_RESET;
  if (HAL_TIM_PWM_ConfigChannel(&htim1, &sConfigOC, TIM_CHANNEL_1) != HAL_OK)
  {
    Error_Handler();
  }
  if (HAL_TIM_PWM_ConfigChannel(&htim1, &sConfigOC, TIM_CHANNEL_2) != HAL_OK)
  {
    Error_Handler();
  }
  if (HAL_TIM_PWM_ConfigChannel(&htim1, &sConfigOC, TIM_CHANNEL_3) != HAL_OK)
  {
    Error_Handler();
  }
  sConfigOC.OCMode = TIM_OCMODE_PWM2;
  sConfigOC.Pulse = (((PWM_PERIOD_CYCLES) / 2) - (HTMIN));
  if (HAL_TIM_PWM_ConfigChannel(&htim1, &sConfigOC, TIM_CHANNEL_4) != HAL_OK)
  {
    Error_Handler();
  }
  sBreakDeadTimeConfig.OffStateRunMode = TIM_OSSR_ENABLE;
  sBreakDeadTimeConfig.OffStateIDLEMode = TIM_OSSI_ENABLE;
  sBreakDeadTimeConfig.LockLevel = TIM_LOCKLEVEL_1;
  sBreakDeadTimeConfig.DeadTime = 0;
  sBreakDeadTimeConfig.BreakState = TIM_BREAK_ENABLE;
  sBreakDeadTimeConfig.BreakPolarity = TIM_BREAKPOLARITY_HIGH;
  sBreakDeadTimeConfig.BreakFilter = 3;
  sBreakDeadTimeConfig.BreakAFMode = TIM_BREAK_AFMODE_INPUT;
  sBreakDeadTimeConfig.Break2State = TIM_BREAK2_DISABLE;
  sBreakDeadTimeConfig.Break2Polarity = TIM_BREAK2POLARITY_HIGH;
  sBreakDeadTimeConfig.Break2Filter = 0;
  sBreakDeadTimeConfig.Break2AFMode = TIM_BREAK_AFMODE_INPUT;
  sBreakDeadTimeConfig.AutomaticOutput = TIM_AUTOMATICOUTPUT_DISABLE;
  if (HAL_TIMEx_ConfigBreakDeadTime(&htim1, &sBreakDeadTimeConfig) != HAL_OK)
  {
    Error_Handler();
  }
  HAL_TIM_MspPostInit(&htim1);

}

static void MX_TIM2_Init(void)
{

  TIM_ClockConfigTypeDef sClockSourceConfig = {0};
  TIM_MasterConfigTypeDef sMasterConfig = {0};

  htim2.Instance = TIM2;
  htim2.Init.Prescaler = 1700-1;
  htim2.Init.CounterMode = TIM_COUNTERMODE_UP;
  htim2.Init.Period = 99999;
  htim2.Init.ClockDivision = TIM_CLOCKDIVISION_DIV1;
  htim2.Init.AutoReloadPreload = TIM_AUTORELOAD_PRELOAD_DISABLE;
  if (HAL_TIM_Base_Init(&htim2) != HAL_OK)
  {
    Error_Handler();
  }
  sClockSourceConfig.ClockSource = TIM_CLOCKSOURCE_INTERNAL;
  if (HAL_TIM_ConfigClockSource(&htim2, &sClockSourceConfig) != HAL_OK)
  {
    Error_Handler();
  }
  sMasterConfig.MasterOutputTrigger = TIM_TRGO_RESET;
  sMasterConfig.MasterSlaveMode = TIM_MASTERSLAVEMODE_DISABLE;
  if (HAL_TIMEx_MasterConfigSynchronization(&htim2, &sMasterConfig) != HAL_OK)
  {
    Error_Handler();
  }

}

static void MX_USART2_UART_Init(void)
{

  huart2.Instance = USART2;
  huart2.Init.BaudRate = 1843200;
  huart2.Init.WordLength = UART_WORDLENGTH_8B;
  huart2.Init.StopBits = UART_STOPBITS_1;
  huart2.Init.Parity = UART_PARITY_NONE;
  huart2.Init.Mode = UART_MODE_TX_RX;
  huart2.Init.HwFlowCtl = UART_HWCONTROL_NONE;
  huart2.Init.OverSampling = UART_OVERSAMPLING_16;
  huart2.Init.OneBitSampling = UART_ONE_BIT_SAMPLE_DISABLE;
  huart2.Init.ClockPrescaler = UART_PRESCALER_DIV1;
  huart2.AdvancedInit.AdvFeatureInit = UART_ADVFEATURE_NO_INIT;
  if (HAL_UART_Init(&huart2) != HAL_OK)
  {
    Error_Handler();
  }
  if (HAL_UARTEx_SetTxFifoThreshold(&huart2, UART_TXFIFO_THRESHOLD_1_8) != HAL_OK)
  {
    Error_Handler();
  }
  if (HAL_UARTEx_SetRxFifoThreshold(&huart2, UART_RXFIFO_THRESHOLD_1_8) != HAL_OK)
  {
    Error_Handler();
  }
  if (HAL_UARTEx_DisableFifoMode(&huart2) != HAL_OK)
  {
    Error_Handler();
  }

}

static void MX_DMA_Init(void)
{

  /* DMA controller clock enable */
  __HAL_RCC_DMAMUX1_CLK_ENABLE();
  __HAL_RCC_DMA1_CLK_ENABLE();

}

static void MX_GPIO_Init(void)
{
  GPIO_InitTypeDef GPIO_InitStruct = {0};

  /* GPIO Ports Clock Enable */
  __HAL_RCC_GPIOC_CLK_ENABLE();
  __HAL_RCC_GPIOF_CLK_ENABLE();
  __HAL_RCC_GPIOA_CLK_ENABLE();
  __HAL_RCC_GPIOB_CLK_ENABLE();

  /*Configure GPIO pin Output Level */
  HAL_GPIO_WritePin(GPIOB, M1_PWM_EN_U_Pin|M1_PWM_EN_V_Pin|M1_PWM_EN_W_Pin, GPIO_PIN_RESET);

  /*Configure GPIO pin : Start_Stop_Pin */
  GPIO_InitStruct.Pin = Start_Stop_Pin;
  GPIO_InitStruct.Mode = GPIO_MODE_IT_FALLING;
  GPIO_InitStruct.Pull = GPIO_NOPULL;
  HAL_GPIO_Init(Start_Stop_GPIO_Port, &GPIO_InitStruct);

  /*Configure GPIO pins : M1_PWM_EN_U_Pin M1_PWM_EN_V_Pin M1_PWM_EN_W_Pin */
  GPIO_InitStruct.Pin = M1_PWM_EN_U_Pin|M1_PWM_EN_V_Pin|M1_PWM_EN_W_Pin;
  GPIO_InitStruct.Mode = GPIO_MODE_OUTPUT_PP;
  GPIO_InitStruct.Pull = GPIO_PULLDOWN;
  GPIO_InitStruct.Speed = GPIO_SPEED_FREQ_HIGH;
  HAL_GPIO_Init(GPIOB, &GPIO_InitStruct);

}

/* USER CODE BEGIN 4 */
void HAL_TIM_PeriodElapsedCallback(TIM_HandleTypeDef *htim)
{
	if (htim->Instance == TIM2)
	{
		sharedCounter ++;

		if (sharedCounter < 11)
		{
			DesiredSpeed = 1300;
			Durationms = 50;
			MC_ProgramSpeedRampMotor1_F(DesiredSpeed, Durationms);
			(void)MC_StartMotor1();
		}
		else if (sharedCounter < 15)
		{
			DesiredSpeed = ((800*10)/60)*65536;
			Durationms = 50;
			pMCI[M1]->pSTC->SpeedRefUnitExt = DesiredSpeed ;
		}
		else if (sharedCounter < 20)
		{
			DesiredSpeed = ((500 *10)/60)*65536;
			Durationms = 50;
			pMCI[M1]->pSTC->SpeedRefUnitExt = DesiredSpeed ;
		}
		else if (sharedCounter < 25)
		{
			DesiredSpeed = ((300 *10)/60)*65536;
			Durationms = 50;
			pMCI[M1]->pSTC->SpeedRefUnitExt = DesiredSpeed ;
		}
		else if (sharedCounter < 27)
		{
			(void)MC_StopMotor1();
		}
		else if (sharedCounter < 32)
		{
			DesiredSpeed = -300;
			Durationms = 50;
			MC_ProgramSpeedRampMotor1_F(DesiredSpeed, Durationms);
			(void)MC_StartMotor1();
		}

		else if (sharedCounter < 37)
		{
			DesiredSpeed = ((500 *10)/60)*65536;
			Durationms = 50;
			pMCI[M1]->pSTC->SpeedRefUnitExt = -DesiredSpeed ;
		}

		else if (sharedCounter < 42)
		{
			DesiredSpeed = ((800 *10)/60)*65536;
			Durationms = 50;
			pMCI[M1]->pSTC->SpeedRefUnitExt = -DesiredSpeed ;
			}

		else if (sharedCounter < 47)
		{
			DesiredSpeed = ((1300 *10)/60)*65536;
			Durationms = 50;
			pMCI[M1]->pSTC->SpeedRefUnitExt = -DesiredSpeed ;
		}
		else if (sharedCounter < 52)
		{
		  (void)MC_StopMotor1();
		}
	}
}

/* USER CODE END 4 */

void Error_Handler(void)
{
  __disable_irq();
  while (1)
  {
  }
}
